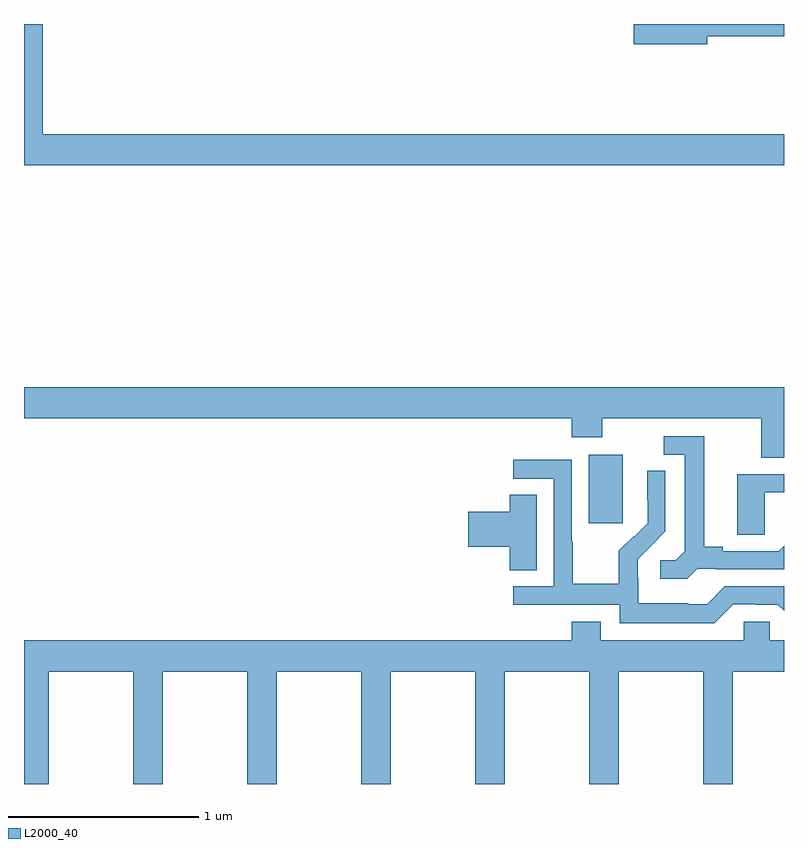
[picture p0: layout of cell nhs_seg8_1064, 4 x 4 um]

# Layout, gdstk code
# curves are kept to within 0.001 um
import gdstk
lib = gdstk.Library(unit=1e-6, precision=1e-09)
def R(c, l, rs):  # rectangles x0, y0, x1, y1
    for r in rs: c.add(gdstk.rectangle(r[:2], r[2:], *l))
def P(c, l, *ps):  # polygons
    for p in ps: c.add(gdstk.Polygon(p, *l))
L2000_40 = (2000, 40)

nhs_seg8_1064 = lib.new_cell('nhs_seg8_1064')
R(nhs_seg8_1064, L2000_40, [(181.973,1125.273,182.152,1125.634)])
P(nhs_seg8_1064, L2000_40, [(183,1127.32),(179.099,1127.32),(179.099,1127.9),(179,1127.9),(179,1127.156),(183,1127.156)],
  [(182.596,1127.836),(183,1127.836),(183,1127.9),(182.208,1127.9),(182.208,1127.794),(182.596,1127.794)],
  [(183,1125.988),(179,1125.988),(179,1125.824),(181.883,1125.824),(181.883,1125.725),(182.043,1125.725),(182.043,1125.824),(182.879,1125.824),(182.879,1125.616),(183,1125.616)],
  [(182.544,1125.033),(182.638,1125.033),(182.638,1125.03),(183,1125.03),(183,1125.154),(182.972,1125.126),(182.677,1125.126),(182.677,1125.149),(182.581,1125.149),(182.581,1125.729),(182.367,1125.729),(182.367,1125.633),(182.477,1125.633),(182.477,1125.125),(182.43,1125.078),(182.349,1125.078),(182.349,1124.981),(182.492,1124.981)],
  [(182.733,1124.847),(182.849,1124.847),(182.849,1124.844),(182.967,1124.844),(183,1124.811),(183,1124.94),(182.688,1124.94),(182.595,1124.847),(182.495,1124.847),(182.495,1124.851),(182.232,1124.851),(182.232,1124.985),(182.23,1124.985),(182.23,1125.082),(182.376,1125.23),(182.376,1125.548),(182.28,1125.548),(182.28,1125.394),(182.282,1125.394),(182.282,1125.272),(182.211,1125.201),(182.208,1125.204),(182.131,1125.127),(182.131,1124.953),(181.887,1124.953),(181.887,1125.176),(181.884,1125.176),(181.884,1125.606),(181.575,1125.606),(181.575,1125.507),(181.788,1125.507),(181.788,1124.94),(181.575,1124.94),(181.575,1124.844),(182.136,1124.844),(182.136,1124.747),(182.633,1124.747)],
  [(182.898,1125.435),(183,1125.435),(183,1125.531),(182.753,1125.531),(182.753,1125.211),(182.898,1125.211)],
  [(181.699,1125.422),(181.556,1125.422),(181.556,1125.332),(181.338,1125.332),(181.338,1125.149),(181.556,1125.149),(181.556,1125.025),(181.699,1125.025)],
  [(179.13,1124.492),(179.575,1124.492),(179.575,1123.9),(179.73,1123.9),(179.73,1124.492),(180.175,1124.492),(180.175,1123.9),(180.33,1123.9),(180.33,1124.492),(180.775,1124.492),(180.775,1123.9),(180.93,1123.9),(180.93,1124.492),(181.375,1124.492),(181.375,1123.9),(181.53,1123.9),(181.53,1124.492),(181.975,1124.492),(181.975,1123.9),(182.13,1123.9),(182.13,1124.492),(182.575,1124.492),(182.575,1123.9),(182.73,1123.9),(182.73,1124.492),(183,1124.492),(183,1124.656),(182.925,1124.656),(182.925,1124.754),(182.787,1124.754),(182.787,1124.656),(182.035,1124.656),(182.035,1124.755),(181.883,1124.755),(181.883,1124.656),(179,1124.656),(179,1123.9),(179.13,1123.9)])

lib.write_gds('nhs_seg8_1064.gds')
